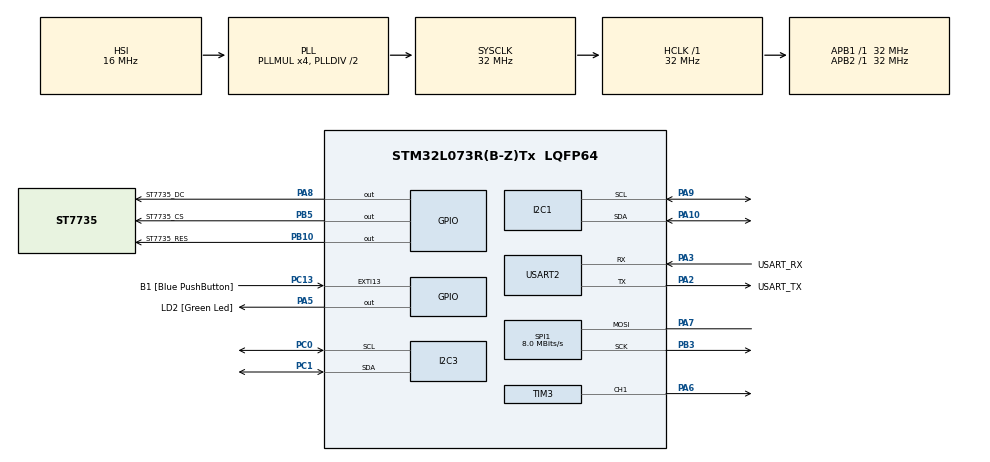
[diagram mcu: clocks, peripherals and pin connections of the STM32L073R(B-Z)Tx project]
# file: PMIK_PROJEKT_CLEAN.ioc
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I2C1.Timing=0x00707CBB
I2C3.Timing=0x00707CBB
Mcu.Family=STM32L0
Mcu.Name=STM32L073R(B-Z)Tx
Mcu.Package=LQFP64
NVIC.TIM2_IRQn=true\:0\:0\:false\:false\:true\:true\:true\:true
NVIC.USART2_IRQn=true\:0\:0\:false\:false\:true\:true\:true\:true
PA10.GPIO_Pu=GPIO_PULLUP
PA10.Mode=I2C
PA10.Signal=I2C1_SDA
PA13.GPIO_Label=TMS
PA13.Signal=SYS_SWDIO
PA14.GPIO_Label=TCK
PA14.Signal=SYS_SWCLK
PA2.GPIO_Label=USART_TX
PA2.Mode=Asynchronous
PA2.Signal=USART2_TX
PA3.GPIO_Label=USART_RX
PA3.Mode=Asynchronous
PA3.Signal=USART2_RX
PA5.GPIO_Label=LD2 [Green Led]
PA5.GPIO_PuPd=GPIO_NOPULL
PA5.Signal=GPIO_Output
PA6.Signal=S_TIM3_CH1
PA7.Mode=Simplex_Bidirectional_Master
PA7.Signal=SPI1_MOSI
PA8.GPIO_Label=ST7735_DC
PA8.Signal=GPIO_Output
PA9.GPIO_Pu=GPIO_PULLUP
PA9.Mode=I2C
PA9.Signal=I2C1_SCL
PB10.GPIO_Label=ST7735_RES
PB10.Signal=GPIO_Output
PB3.Mode=Simplex_Bidirectional_Master
PB3.Signal=SPI1_SCK
PB5.GPIO_Label=ST7735_CS
PB5.Signal=GPIO_Output
PC0.Mode=I2C
PC0.Signal=I2C3_SCL
PC1.Mode=I2C
PC1.Signal=I2C3_SDA
PC13.GPIO_Label=B1 [Blue PushButton]
PC13.GPIO_ModeDefaultEXTI=GPIO_MODE_IT_FALLING
PC13.Signal=GPXTI13
PC14-OSC32_IN.Signal=RCC_OSC32_IN
PC15-OSC32_OUT.Signal=RCC_OSC32_OUT
PH0-OSC_IN.GPIO_Label=MCO
PH0-OSC_IN.Mode=HSE-External-Oscillator
PH0-OSC_IN.Signal=RCC_OSC_IN
PH1-OSC_OUT.Mode=HSE-External-Oscillator
PH1-OSC_OUT.Signal=RCC_OSC_OUT
ProjectManager.HeapSize=0x200
ProjectManager.StackSize=0x400
ProjectManager.TargetToolchain=STM32CubeIDE
RCC.AHBFreq_Value=32000000
RCC.APB1Freq_Value=32000000
RCC.APB1TimFreq_Value=32000000
RCC.APB2Freq_Value=32000000
RCC.APB2TimFreq_Value=32000000
RCC.HCLKFreq_Value=32000000
RCC.HSE_VALUE=8000000
RCC.HSI16_VALUE=16000000
RCC.HSI48_VALUE=48000000
RCC.HSI_VALUE=16000000
RCC.LSEState=RCC_LSE_ON
RCC.LSE_VALUE=32768
RCC.MSI_VALUE=2097000
RCC.PLLMUL=RCC_PLLMUL_4
RCC.SYSCLKFreq_VALUE=32000000
RCC.SYSCLKSource=RCC_SYSCLKSOURCE_PLLCLK
RCC.VCOOutputFreq_Value=64000000
SH.S_TIM3_CH1.0=TIM3_CH1,PWM Generation1 CH1
SPI1.BaudRatePrescaler=SPI_BAUDRATEPRESCALER_4
SPI1.CalculateBaudRate=8.0 MBits/s
SPI1.Direction=SPI_DIRECTION_1LINE
SPI1.Mode=SPI_MODE_MASTER
SPI1.VirtualType=VM_MASTER
TIM2.AutoReloadPreload=TIM_AUTORELOAD_PRELOAD_ENABLE
TIM2.Period=200-1
TIM2.Prescaler=32000-1
TIM3.AutoReloadPreload=TIM_AUTORELOAD_PRELOAD_ENABLE
TIM3.Channel-PWM\ Generation1\ CH1=TIM_CHANNEL_1
TIM3.Period=20000-1
TIM3.Prescaler=31
USART2.VirtualMode-Asynchronous=VM_ASYNC
VP_TIM2_VS_ClockSourceINT.Mode=Internal
VP_TIM3_VS_ClockSourceINT.Mode=Internal
board=NUCLEO-L073RZ

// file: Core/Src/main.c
/* USER CODE BEGIN Header */

/**
  ******************************************************************************
  * @file           : main.c
  * @brief          : Main program body
  * Autorzy: Lukasz Kustosz, Jakub Slubowski
  * Projekt: Balanser pileczki ping-pongowej w rynience
  * Opis działanie: Na podstawie odleglosci mierzonej czujnikiem VL53L1X
  * program przetwarza dane przez regulator PID i steruje servem,które ustawia
  * kat rynienki tak aby ustawic pileczke na srodku
  ******************************************************************************
  * @attention
  *
  * Copyright (c) 2022 STMicroelectronics.
  * All rights reserved.
  *
  * This software is licensed under terms that can be found in the LICENSE file
  * in the root directory of this software component.
  * If no LICENSE file comes with this software, it is provided AS-IS.
  *
  ******************************************************************************
  */
/* USER CODE END Header */
#include "main.h"
#include "i2c.h"
#include "spi.h"
#include "tim.h"
#include "usart.h"
#include "gpio.h"

/* USER CODE BEGIN Includes */
#include <stdio.h>
#include <string.h>
#include "servo.h"
#include "akcelerometr.h"
#include "distance_sensor.h"
#include "st7735.h"
#include "fonts.h"
/* USER CODE END Includes */

/* USER CODE BEGIN PTD */
/**
 *  @brief struktura uzywana do wyliczania wartosci na wyjsciu regulatora PID
 */
typedef struct
{
	uint16_t set_point;
	float    Kp; // wspolczynnik proporcjonalny
	float    Kd; // wspolczynnik rozniczkowy
	float    Ki; // wspolczynnik calkowy
	uint32_t time_old;
	uint32_t time_new;
    uint32_t period;
	int16_t  distance_error;
	int16_t  distance_previous_error;
	int16_t  dist_diference;
	float    PID_p, PID_i, PID_d, PID_total; // PID_total = PID_p+PID_i+PID_d
}PIDStruct;

/* USER CODE END PTD */

/* USER CODE BEGIN PD */
#define dev 				0x52  // address of IR distance sensor
#define displayMiddleHeight 80
#define screenLeftX 		20
#define screenRightX		108
#define angleScaler 		5.625
/* USER CODE END PD */

/* USER CODE BEGIN PV */

//distance sensor
uint16_t  data_recdist;
//
//akcelerometr
int8_t    data_recangle;
//
//PID
float     data_PID_total  ;
PIDStruct PID;
//serwomechanizm
uint16_t  servo_angle =850;
uint8_t   servo_enable =1;
//
//uart
uint8_t   test_uart;
char      msg[64];
uint8_t   znak;

//
/* USER CODE END PV */

void SystemClock_Config(void);
/* USER CODE BEGIN PFP */
void 	 PIDRegulator(uint16_t distance, PIDStruct *PID);
uint16_t CalculateAngle(float PID_value);
/* USER CODE END PFP */

int main(void)
{

  /* MCU Configuration--------------------------------------------------------*/

  /* Reset of all peripherals, Initializes the Flash interface and the Systick. */
  HAL_Init();

  /* Configure the system clock */
  SystemClock_Config();

  /* Initialize all configured peripherals */
  MX_GPIO_Init();
  MX_I2C1_Init();
  MX_USART2_UART_Init();
  MX_TIM2_Init();
  MX_TIM3_Init();
  MX_SPI1_Init();
  MX_I2C3_Init();
  /* USER CODE BEGIN 2 */
  HAL_TIM_PWM_Start(&htim3, TIM_CHANNEL_1);
  HAL_UART_Receive_IT(&huart2, &znak, 1);
  set_ang(ANGLE_MID); // ustawianie rynienki w pozycji zerowej
  bma_init(); //inicjalizacja akcelerometru
  IR_Init(); //inicjalizacja czujnika odleglosci
  ST7735_Init();
  ST7735_FillRectangleFast(0, 0, 128, 160, ST7735_BLACK);
  PID.Kd =170.0;
  PID.Ki = 0.01;
  PID.Kp = 0.6;
  PID.set_point = 200;
  //PID VARIABLES INIT
  /* USER CODE END 2 */

  /* Infinite loop */
  /* USER CODE BEGIN WHILE */
  while (1)
  {

	 ST7735_DrawLine(screenLeftX, displayMiddleHeight+data_recangle, screenRightX, displayMiddleHeight-data_recangle, ST7735_BLACK);
	 data_recangle = angleScaler*bma_read(bma_x,1);
	 ST7735_DrawLine(screenLeftX, displayMiddleHeight+data_recangle, screenRightX, displayMiddleHeight-data_recangle, ST7735_WHITE);

	 data_recdist = IR_Get_Distance();
	 PIDRegulator(data_recdist, &PID);

	 if(servo_enable == 1){
		 if(data_recdist > 100){
				 set_ang(CalculateAngle(PID.PID_total));
			 }
		 else{
				 PID.PID_total=PID.PID_total*0.65; // reczna korekta nieliniowosci pomiarow czujnika odleglosci
				 set_ang(CalculateAngle(PID.PID_total));
			 }
	 }
	 else if (servo_enable==0){
		 set_ang(ANGLE_MID);
	 }

	 if(test_uart == 1){
	 	 sprintf((char*)msg," PID_total %f  , Dist %d, Angle %d\n ",  PID.PID_total,  data_recdist, data_recangle);
	 	 HAL_UART_Transmit(&huart2, (uint8_t*)msg, strlen(msg),1000);
	 }
    /* USER CODE END WHILE */

  }
}

void SystemClock_Config(void)
{
  RCC_OscInitTypeDef RCC_OscInitStruct = {0};
  RCC_ClkInitTypeDef RCC_ClkInitStruct = {0};
  RCC_PeriphCLKInitTypeDef PeriphClkInit = {0};

  /** Configure the main internal regulator output voltage
  */
  __HAL_PWR_VOLTAGESCALING_CONFIG(PWR_REGULATOR_VOLTAGE_SCALE1);

  /** Initializes the RCC Oscillators according to the specified parameters
  * in the RCC_OscInitTypeDef structure.
  */
  RCC_OscInitStruct.OscillatorType = RCC_OSCILLATORTYPE_HSI;
  RCC_OscInitStruct.HSIState = RCC_HSI_ON;
  RCC_OscInitStruct.HSICalibrationValue = RCC_HSICALIBRATION_DEFAULT;
  RCC_OscInitStruct.PLL.PLLState = RCC_PLL_ON;
  RCC_OscInitStruct.PLL.PLLSource = RCC_PLLSOURCE_HSI;
  RCC_OscInitStruct.PLL.PLLMUL = RCC_PLLMUL_4;
  RCC_OscInitStruct.PLL.PLLDIV = RCC_PLLDIV_2;
  if (HAL_RCC_OscConfig(&RCC_OscInitStruct) != HAL_OK)
  {
    Error_Handler();
  }

  /** Initializes the CPU, AHB and APB buses clocks
  */
  RCC_ClkInitStruct.ClockType = RCC_CLOCKTYPE_HCLK|RCC_CLOCKTYPE_SYSCLK
                              |RCC_CLOCKTYPE_PCLK1|RCC_CLOCKTYPE_PCLK2;
  RCC_ClkInitStruct.SYSCLKSource = RCC_SYSCLKSOURCE_PLLCLK;
  RCC_ClkInitStruct.AHBCLKDivider = RCC_SYSCLK_DIV1;
  RCC_ClkInitStruct.APB1CLKDivider = RCC_HCLK_DIV1;
  RCC_ClkInitStruct.APB2CLKDivider = RCC_HCLK_DIV1;

  if (HAL_RCC_ClockConfig(&RCC_ClkInitStruct, FLASH_LATENCY_1) != HAL_OK)
  {
    Error_Handler();
  }
  PeriphClkInit.PeriphClockSelection = RCC_PERIPHCLK_USART2|RCC_PERIPHCLK_I2C1
                              |RCC_PERIPHCLK_I2C3;
  PeriphClkInit.Usart2ClockSelection = RCC_USART2CLKSOURCE_PCLK1;
  PeriphClkInit.I2c1ClockSelection = RCC_I2C1CLKSOURCE_PCLK1;
  PeriphClkInit.I2c3ClockSelection = RCC_I2C3CLKSOURCE_PCLK1;
  if (HAL_RCCEx_PeriphCLKConfig(&PeriphClkInit) != HAL_OK)
  {
    Error_Handler();
  }
}

/* USER CODE BEGIN 4 */
/**
  * @brief Funkcja odpowiada za regulacje PID na podstawie podanych na wejscie wartosci.
  * Przyjmuje odleglosc w mm odczytana z czujnika odleglosci oraz wskaznik na globalna
  * strukture zawierajaca dane potrzebne do obliczen
  * @param distance
  * 	wartosc uint8_t odleglosci podana w mm
  * @param *PID
  * 	Wskaznik na globalna strukture PID kontrolujaca kat rynienki
  */
void PIDRegulator( uint16_t distance,  PIDStruct *PID)
{
	PID->time_new = HAL_GetTick();
	PID->period = PID->time_new - PID->time_old;
	PID->time_old = PID->time_new;

	PID->distance_error = PID->set_point - distance;

	PID->PID_p = PID->Kp * PID->distance_error;

	PID->dist_diference = PID->distance_error - PID->distance_previous_error;

	PID->PID_d = PID->Kd*(((float)PID->distance_error - (float)PID->distance_previous_error)/(float)PID->period);

	if(-25 < PID->distance_error && PID->distance_error < 25)
	    {
			PID->PID_i = PID->PID_i + (PID->Ki * PID->distance_error);
	    }
	else
	    {
	    	PID->PID_i = 0;
	    }
	PID->PID_total = PID->PID_p + PID->PID_i + PID->PID_d;
	PID->distance_previous_error =  PID->distance_error;
	return;
}

/**
  * @brief Funkcja odpowiada za przeskalowanie wartosci PID na odpowiedni
  * kat do ustawienia serwomechanizmu.
  * Maksymalne wychylenie od srodkowego ustawienia serwa wynosi +-355
  * (w sensie wypelnienia PWM sterujacego serwem).
  * @param PID_value
  * 	Wartosc PID obliczona przez PIDREGULATOR
  * @retval uint16_t wartosc szerokosci impulsu sterujacego servem
  */
uint16_t CalculateAngle(float PID_value)
{

	if(PID_value < 0 && PID_value >-355){
		servo_angle = ANGLE_MID + PID_value;
	}
	else if(PID_value > 0 && PID_value < 355){
		servo_angle =  ANGLE_MID + PID_value;
	}
	else if (PID_value > 355 ) {
		servo_angle =  ANGLE_MID + 355;
	}
	else if (PID_value < -355 ) {
			servo_angle =  ANGLE_MID - 355;
		}

	return servo_angle;
}

void HAL_UART_RxCpltCallback(UART_HandleTypeDef *huart)
{
	if(huart -> Instance == USART2)
	{
		if(znak == 'g')
		{
			HAL_GPIO_WritePin(LD2_GPIO_Port, LD2_Pin, GPIO_PIN_SET);
			servo_enable = 1;
		}
		if(znak == 's')
		{
			HAL_GPIO_WritePin(LD2_GPIO_Port, LD2_Pin, GPIO_PIN_RESET);
			servo_enable = 0;
		}
		if(znak == 't')
		{
			test_uart = 1;
		}
		if(znak == 'c')
		{
			test_uart = 0;
		}
	HAL_UART_Receive_IT(&huart2, &znak, 1);
	}
}
/* USER CODE END 4 */

void Error_Handler(void)
{
  __disable_irq();
  while (1)
  {
  }
}
